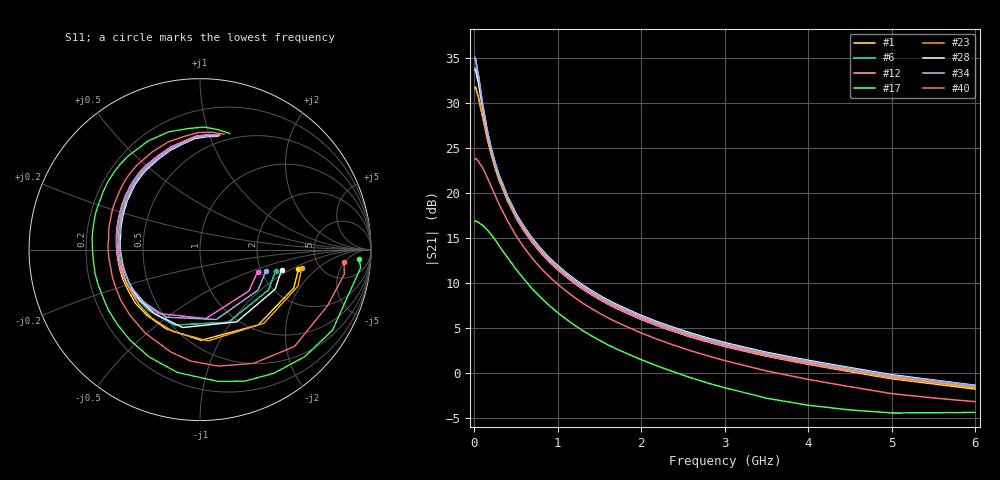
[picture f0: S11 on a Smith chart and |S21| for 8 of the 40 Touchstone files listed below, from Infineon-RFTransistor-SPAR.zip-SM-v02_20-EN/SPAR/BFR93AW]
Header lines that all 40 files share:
! Infineon Technologies  Discrete & RF Semiconductors
! BFR93AW
! Common Emitter S-Parameters:  Jan 2017
# GHz  S  MA  R  50
!  f  S11  S21  S12  S22
! GHz  MAG  ANG  MAG  ANG  MAG  ANG  MAG  ANG
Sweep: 10 MHz to 6 GHz
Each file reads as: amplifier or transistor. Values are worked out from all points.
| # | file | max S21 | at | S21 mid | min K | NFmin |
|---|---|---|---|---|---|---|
| 1 | BFR93AW_w_noise_VCE_3.0V_IC_18mA.s2p | 31.7 dB | 10 MHz | 5.2 dB at 2.2 GHz | 0.04 | 1.47 dB |
| 2 | BFR93AW_w_noise_VCE_3.0V_IC_20mA.s2p | 32.2 dB | 10 MHz | 5.3 dB at 2.2 GHz | 0.09 | 1.52 dB |
| 3 | BFR93AW_w_noise_VCE_3.0V_IC_23mA.s2p | 32.8 dB | 10 MHz | 5.3 dB at 2.2 GHz | 0.08 | 1.60 dB |
| 4 | BFR93AW_w_noise_VCE_3.0V_IC_24mA.s2p | 33.0 dB | 10 MHz | 5.4 dB at 2.2 GHz | 0.06 | 1.63 dB |
| 5 | BFR93AW_w_noise_VCE_3.0V_IC_25mA.s2p | 33.2 dB | 10 MHz | 5.4 dB at 2.2 GHz | 0.10 | 1.66 dB |
| 6 | BFR93AW_w_noise_VCE_3.0V_IC_30mA.s2p | 33.9 dB | 10 MHz | 5.4 dB at 2.2 GHz | 0.13 | 1.79 dB |
| 7 | BFR93AW_w_noise_VCE_3.0V_IC_32mA.s2p | 34.1 dB | 10 MHz | 5.4 dB at 2.2 GHz | 0.14 | 1.86 dB |
| 8 | BFR93AW_w_noise_VCE_3.0V_IC_33mA.s2p | 34.2 dB | 10 MHz | 5.4 dB at 2.2 GHz | 0.16 | 1.88 dB |
| 9 | BFR93AW_w_noise_VCE_3.0V_IC_36mA.s2p | 34.5 dB | 10 MHz | 5.4 dB at 2.2 GHz | 0.16 | 1.95 dB |
| 10 | BFR93AW_w_noise_VCE_3.0V_IC_38mA.s2p | 34.6 dB | 10 MHz | 5.4 dB at 2.2 GHz | 0.18 | 1.99 dB |
| 11 | BFR93AW_w_noise_VCE_3.0V_IC_40mA.s2p | 34.8 dB | 10 MHz | 5.3 dB at 2.2 GHz | 0.17 | 2.04 dB |
| 12 | BFR93AW_w_noise_VCE_3.0V_IC_45mA.s2p | 35.0 dB | 10 MHz | 5.3 dB at 2.2 GHz | 0.23 | 2.16 dB |
| 13 | BFR93AW_w_noise_VCE_3.0V_IC_47mA.s2p | 35.1 dB | 10 MHz | 5.2 dB at 2.2 GHz | 0.25 | 2.21 dB |
| 14 | BFR93AW_w_noise_VCE_3.0V_IC_50mA.s2p | 35.3 dB | 10 MHz | 5.1 dB at 2.2 GHz | 0.21 | 2.30 dB |
| 15 | BFR93AW_w_noise_VCE_3.0V_IC_52mA.s2p | 35.3 dB | 10 MHz | 5.0 dB at 2.2 GHz | 0.23 | 2.34 dB |
| 16 | BFR93AW_w_noise_VCE_3.0V_IC_55mA.s2p | 35.4 dB | 10 MHz | 4.9 dB at 2.2 GHz | 0.27 | 2.42 dB |
| 17 | BFR93AW_w_noise_VCE_4.0V_IC_2.0mA.s2p | 16.9 dB | 20 MHz | 0.7 dB at 2.2 GHz | -0.11 | 1.49 dB |
| 18 | BFR93AW_w_noise_VCE_4.0V_IC_5.0mA.s2p | 24.0 dB | 20 MHz | 3.6 dB at 2.2 GHz | 0.01 | 1.18 dB |
| 19 | BFR93AW_w_noise_VCE_4.0V_IC_10mA.s2p | 28.4 dB | 20 MHz | 4.8 dB at 2.2 GHz | 0.02 | 1.25 dB |
| 20 | BFR93AW_w_noise_VCE_4.0V_IC_11mA.s2p | 29.0 dB | 20 MHz | 5.0 dB at 2.2 GHz | -0.01 | 1.26 dB |
| 21 | BFR93AW_w_noise_VCE_4.0V_IC_15mA.s2p | 30.7 dB | 20 MHz | 5.3 dB at 2.2 GHz | 0.00 | 1.37 dB |
| 22 | BFR93AW_w_noise_VCE_4.0V_IC_16mA.s2p | 31.0 dB | 10 MHz | 5.3 dB at 2.2 GHz | 0.05 | 1.41 dB |
| 23 | BFR93AW_w_noise_VCE_4.0V_IC_18mA.s2p | 31.6 dB | 10 MHz | 5.4 dB at 2.2 GHz | 0.08 | 1.47 dB |
| 24 | BFR93AW_w_noise_VCE_4.0V_IC_20mA.s2p | 32.1 dB | 10 MHz | 5.5 dB at 2.2 GHz | 0.06 | 1.52 dB |
| 25 | BFR93AW_w_noise_VCE_4.0V_IC_23mA.s2p | 32.6 dB | 10 MHz | 5.6 dB at 2.2 GHz | 0.09 | 1.60 dB |
| 26 | BFR93AW_w_noise_VCE_4.0V_IC_24mA.s2p | 32.8 dB | 10 MHz | 5.6 dB at 2.2 GHz | 0.12 | 1.63 dB |
| 27 | BFR93AW_w_noise_VCE_4.0V_IC_25mA.s2p | 33.0 dB | 10 MHz | 5.6 dB at 2.2 GHz | 0.11 | 1.66 dB |
| 28 | BFR93AW_w_noise_VCE_4.0V_IC_30mA.s2p | 33.7 dB | 10 MHz | 5.7 dB at 2.2 GHz | 0.12 | 1.79 dB |
| 29 | BFR93AW_w_noise_VCE_4.0V_IC_32mA.s2p | 33.9 dB | 10 MHz | 5.7 dB at 2.2 GHz | 0.11 | 1.86 dB |
| 30 | BFR93AW_w_noise_VCE_4.0V_IC_33mA.s2p | 34.0 dB | 10 MHz | 5.7 dB at 2.2 GHz | 0.13 | 1.88 dB |
| 31 | BFR93AW_w_noise_VCE_4.0V_IC_36mA.s2p | 34.2 dB | 10 MHz | 5.7 dB at 2.2 GHz | 0.14 | 1.95 dB |
| 32 | BFR93AW_w_noise_VCE_4.0V_IC_38mA.s2p | 34.4 dB | 10 MHz | 5.6 dB at 2.2 GHz | 0.15 | 1.99 dB |
| 33 | BFR93AW_w_noise_VCE_4.0V_IC_40mA.s2p | 34.5 dB | 10 MHz | 5.6 dB at 2.2 GHz | 0.14 | 2.04 dB |
| 34 | BFR93AW_w_noise_VCE_4.0V_IC_45mA.s2p | 34.8 dB | 10 MHz | 5.6 dB at 2.2 GHz | 0.18 | 2.16 dB |
| 35 | BFR93AW_w_noise_VCE_4.0V_IC_47mA.s2p | 34.9 dB | 10 MHz | 5.5 dB at 2.2 GHz | 0.20 | 2.21 dB |
| 36 | BFR93AW_w_noise_VCE_4.0V_IC_50mA.s2p | 35.1 dB | 10 MHz | 5.5 dB at 2.2 GHz | 0.14 | 2.30 dB |
| 37 | BFR93AW_w_noise_VCE_4.0V_IC_52mA.s2p | 35.2 dB | 10 MHz | 5.4 dB at 2.2 GHz | 0.20 | 2.34 dB |
| 38 | BFR93AW_w_noise_VCE_4.0V_IC_55mA.s2p | 35.2 dB | 10 MHz | 5.4 dB at 2.2 GHz | 0.22 | 2.42 dB |
| 39 | BFR93AW_w_noise_VCE_5.0V_IC_2.0mA.s2p | 16.9 dB | 20 MHz | 0.9 dB at 2.2 GHz | -0.04 | 1.49 dB |
| 40 | BFR93AW_w_noise_VCE_5.0V_IC_5.0mA.s2p | 23.8 dB | 20 MHz | 3.7 dB at 2.2 GHz | -0.03 | 1.18 dB |

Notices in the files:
Hoja de datos/BFP 450/Infineon-RFTransistor-SPAR.zip-SM-v02_20-EN/SPAR/BFR93AW/BFR93AW_w_noise_VCE_3.0V_IC_18mA.s2p:
(c) 2017  Infineon Technologies AG, Munich
